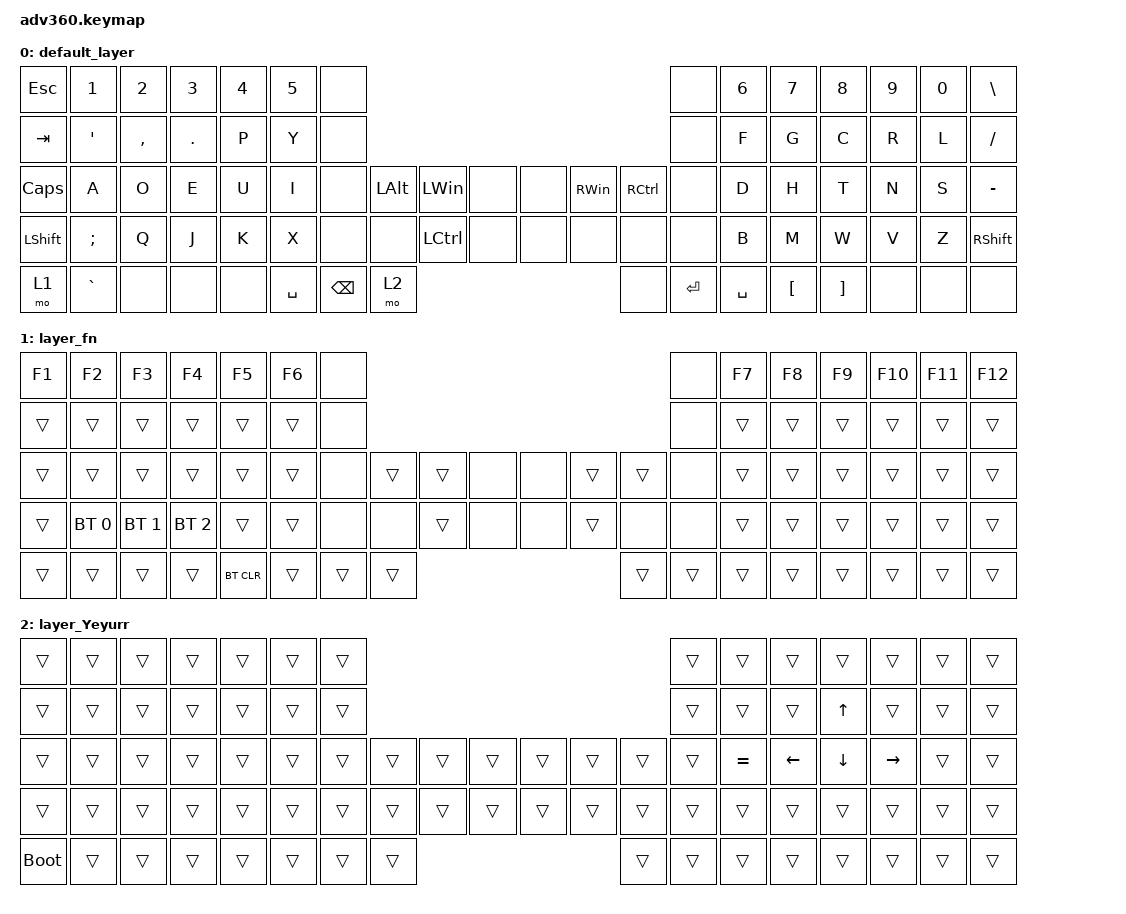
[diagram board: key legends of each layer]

/*
 * Copyright (c) 2020 The ZMK Contributors
 *
 * SPDX-License-Identifier: MIT
 */


/* THIS FILE WAS GENERATED!
 *
 * This file was generated automatically. You may or may not want to
 * edit it directly.
 */

#include <behaviors.dtsi>
#include <dt-bindings/zmk/keys.h>
#include <dt-bindings/zmk/bt.h>

/ {
  behaviors {
    #include "macros.dtsi"
    #include "version.dtsi"

    hm: homerow_mods {
        compatible = "zmk,behavior-hold-tap";
        label = "HOMEROW_MODS";
        #binding-cells = <2>;
        tapping-term-ms = <200>;
        quick_tap_ms = <175>;
        flavor = "tap-preferred";
        bindings = <&kp>, <&kp>;
    };
  };

    keymap {
        compatible = "zmk,keymap";


        default_layer {
            bindings = <
   &kp ESCAPE            &kp N1     &kp N2      &kp N3  &kp N4  &kp N5                &none                                                                             &none  &kp N6            &kp N7             &kp N8  &kp N9  &kp N0    &kp BACKSLASH
      &kp TAB  &kp SINGLE_QUOTE  &kp COMMA  &kp PERIOD   &kp P   &kp Y                &none                                                                             &none   &kp F             &kp G              &kp C   &kp R   &kp L        &kp SLASH
 &kp CAPSLOCK             &kp A      &kp O       &kp E   &kp U   &kp I                &none   &kp LEFT_ALT   &kp LWIN   &none   &none  &kp RWIN  &kp RIGHT_CONTROL      &none   &kp D             &kp H              &kp T   &kp N   &kp S        &kp MINUS
    &kp LSHFT     &kp SEMICOLON      &kp Q       &kp J   &kp K   &kp X                &none          &none  &kp LCTRL   &none   &none     &none              &none      &none   &kp B             &kp M              &kp W   &kp V   &kp Z  &kp RIGHT_SHIFT
        &mo 1         &kp GRAVE      &none       &none   &none                    &kp SPACE  &kp BACKSPACE      &mo 2                     &none          &kp ENTER  &kp SPACE          &kp LEFT_BRACKET  &kp RIGHT_BRACKET   &none   &none            &none
            >;
        };

        layer_fn {
            bindings = <
 &kp F1        &kp F2        &kp F3        &kp F4      &kp F5  &kp F6             &none                                                   &none  &kp F7  &kp F8  &kp F9  &kp F10  &kp F11  &kp F12
 &trans        &trans        &trans        &trans      &trans  &trans             &none                                                   &none  &trans  &trans  &trans   &trans   &trans   &trans
 &trans        &trans        &trans        &trans      &trans  &trans             &none  &trans  &trans   &none   &none  &trans  &trans   &none  &trans  &trans  &trans   &trans   &trans   &trans
 &trans  &bt BT_SEL 0  &bt BT_SEL 1  &bt BT_SEL 2      &trans  &trans             &none   &none  &trans   &none   &none  &trans   &none   &none  &trans  &trans  &trans   &trans   &trans   &trans
 &trans        &trans        &trans        &trans  &bt BT_CLR                    &trans  &trans  &trans                  &trans  &trans  &trans          &trans  &trans   &trans   &trans   &trans
            >;
        };

        layer_Yeyurr {
            bindings = <
      &trans  &trans  &trans  &trans  &trans  &trans            &trans                                                  &trans     &trans          &trans          &trans           &trans  &trans  &trans
      &trans  &trans  &trans  &trans  &trans  &trans            &trans                                                  &trans     &trans          &trans    &kp UP_ARROW           &trans  &trans  &trans
      &trans  &trans  &trans  &trans  &trans  &trans            &trans  &trans  &trans  &trans  &trans  &trans  &trans  &trans  &kp EQUAL  &kp LEFT_ARROW  &kp DOWN_ARROW  &kp RIGHT_ARROW  &trans  &trans
      &trans  &trans  &trans  &trans  &trans  &trans            &trans  &trans  &trans  &trans  &trans  &trans  &trans  &trans     &trans          &trans          &trans           &trans  &trans  &trans
 &bootloader  &trans  &trans  &trans  &trans                    &trans  &trans  &trans                  &trans  &trans  &trans                     &trans          &trans           &trans  &trans  &trans
            >;
        };

    };
};
